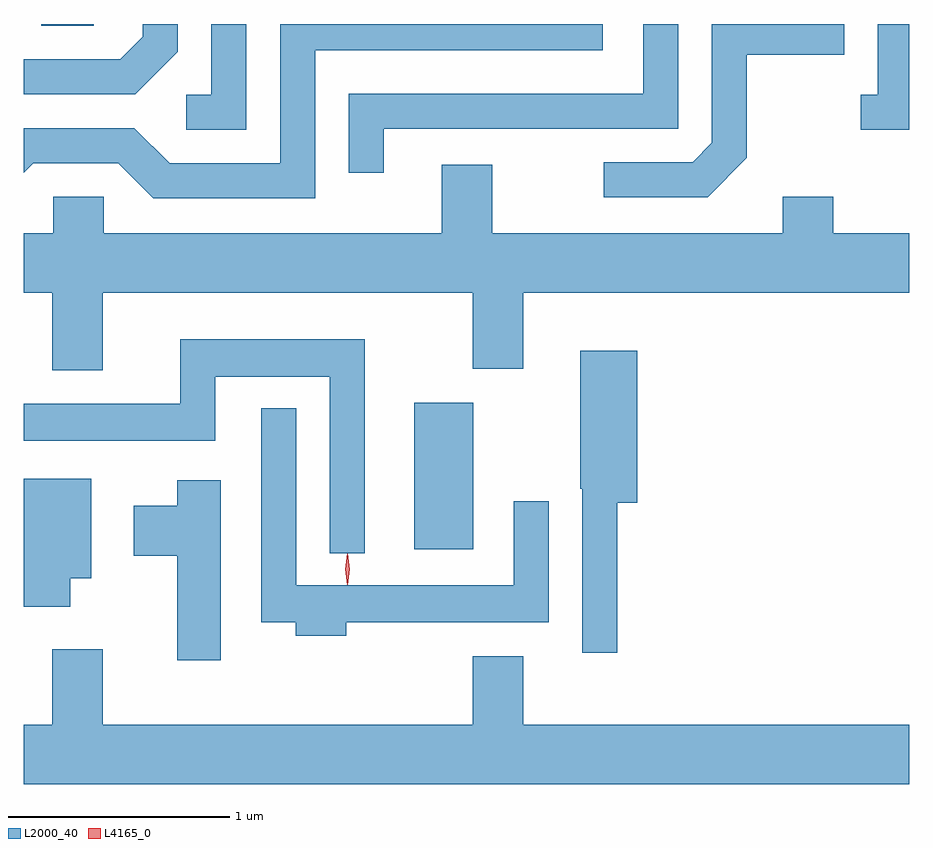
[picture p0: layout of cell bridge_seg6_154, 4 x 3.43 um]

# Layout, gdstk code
import gdstk
lib = gdstk.Library(unit=1e-6, precision=1e-09)
def R(c, l, rs):  # rectangles x0, y0, x1, y1
    for r in rs: c.add(gdstk.rectangle(r[:2], r[2:], *l))
def P(c, l, *ps):  # polygons
    for p in ps: c.add(gdstk.Polygon(p, *l))
L2000_40 = (2000, 40)
L4165_0 = (4165, 0)

bridge_seg6_154 = lib.new_cell('bridge_seg6_154')
R(bridge_seg6_154, L2000_40, [(1051.826,1593.276,1052.094,1593.939), (1050.141,1595.641,1050.379,1595.649)])
P(bridge_seg6_154, L2000_40, [(1051.379,1595.531),(1052.679,1595.531),(1052.679,1595.649),(1051.221,1595.649),(1051.221,1595.019),(1050.722,1595.019),(1050.562,1595.179),(1050.063,1595.179),(1050.063,1594.977),(1050.107,1595.021),(1050.489,1595.021),(1050.649,1594.861),(1051.379,1594.861)],
  [(1051.689,1595.176),(1053.019,1595.176),(1053.019,1595.649),(1052.861,1595.649),(1052.861,1595.334),(1051.531,1595.334),(1051.531,1594.978),(1051.689,1594.978)],
  [(1051.069,1595.649),(1050.911,1595.649),(1050.911,1595.329),(1050.798,1595.329),(1050.798,1595.171),(1051.069,1595.171)],
  [(1054.063,1595.649),(1053.921,1595.649),(1053.921,1595.329),(1053.843,1595.329),(1053.843,1595.171),(1054.063,1595.171)],
  [(1053.329,1595.044),(1053.329,1595.511),(1053.769,1595.511),(1053.769,1595.649),(1053.171,1595.649),(1053.171,1595.112),(1053.084,1595.024),(1052.683,1595.024),(1052.683,1594.866),(1053.152,1594.866)],
  [(1050.759,1595.524),(1050.759,1595.649),(1050.601,1595.649),(1050.601,1595.592),(1050.499,1595.489),(1050.063,1595.489),(1050.063,1595.331),(1050.567,1595.331)],
  [(1050.419,1594.436),(1052.091,1594.436),(1052.091,1594.091),(1052.319,1594.091),(1052.319,1594.436),(1054.063,1594.436),(1054.063,1594.704),(1053.719,1594.704),(1053.719,1594.869),(1053.491,1594.869),(1053.491,1594.704),(1052.179,1594.704),(1052.179,1595.014),(1051.951,1595.014),(1051.951,1594.704),(1050.424,1594.704),(1050.424,1594.869),(1050.196,1594.869),(1050.196,1594.704),(1050.063,1594.704),(1050.063,1594.436),(1050.191,1594.436),(1050.191,1594.086),(1050.419,1594.086)],
  [(1051.604,1594.224),(1050.771,1594.224),(1050.771,1593.934),(1050.063,1593.934),(1050.063,1593.766),(1050.929,1593.766),(1050.929,1594.056),(1051.446,1594.056),(1051.446,1593.258),(1051.604,1593.258)],
  [(1052.744,1593.486),(1052.834,1593.486),(1052.834,1594.174),(1052.576,1594.174),(1052.576,1593.55),(1052.586,1593.55),(1052.586,1592.808),(1052.744,1592.808)],
  [(1051.519,1592.946),(1052.434,1592.946),(1052.434,1593.493),(1052.276,1593.493),(1052.276,1593.114),(1051.294,1593.114),(1051.294,1593.913),(1051.136,1593.913),(1051.136,1592.946),(1051.291,1592.946),(1051.291,1592.886),(1051.519,1592.886)],
  [(1050.274,1593.146),(1050.369,1593.146),(1050.369,1593.594),(1050.063,1593.594),(1050.063,1593.016),(1050.274,1593.016)],
  [(1050.954,1593.589),(1050.756,1593.589),(1050.756,1593.474),(1050.561,1593.474),(1050.561,1593.246),(1050.756,1593.246),(1050.756,1592.776),(1050.954,1592.776)],
  [(1054.063,1592.484),(1052.319,1592.484),(1052.319,1592.794),(1052.091,1592.794),(1052.091,1592.484),(1050.419,1592.484),(1050.419,1592.824),(1050.191,1592.824),(1050.191,1592.484),(1050.063,1592.484),(1050.063,1592.216),(1054.063,1592.216)])
P(bridge_seg6_154, L4165_0, [(1051.525,1593.117),(1051.525,1593.117),(1051.515,1593.187),(1051.525,1593.256),(1051.525,1593.256),(1051.526,1593.256),(1051.535,1593.187),(1051.526,1593.117)],
  [(1051.526,1593.119),(1051.525,1593.12),(1051.516,1593.186),(1051.525,1593.252),(1051.526,1593.253),(1051.526,1593.252),(1051.536,1593.186),(1051.526,1593.12)])

lib.write_gds('bridge_seg6_154.gds')
